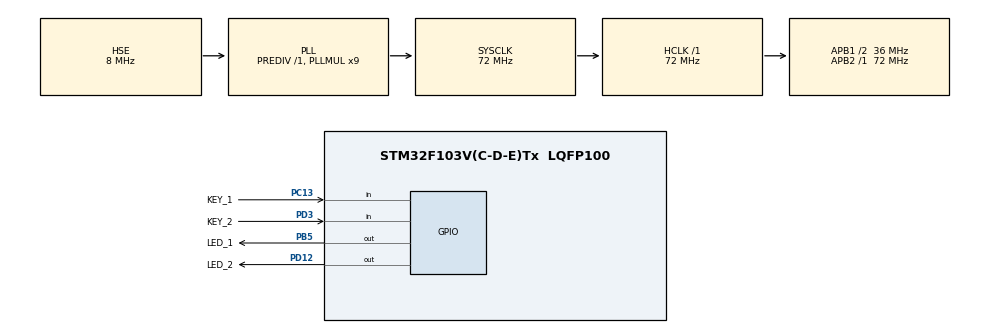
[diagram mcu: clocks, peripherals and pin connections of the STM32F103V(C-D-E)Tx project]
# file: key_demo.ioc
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Mcu.Family=STM32F1
Mcu.Name=STM32F103V(C-D-E)Tx
Mcu.Package=LQFP100
NVIC.PriorityGroup=NVIC_PRIORITYGROUP_0
NVIC.TIM6_IRQn=true\:0\:3\:false\:false\:true\:true\:true
OSC_IN.Mode=HSE-External-Oscillator
OSC_IN.Signal=RCC_OSC_IN
OSC_OUT.Mode=HSE-External-Oscillator
OSC_OUT.Signal=RCC_OSC_OUT
PA13.Mode=Serial_Wire
PA13.Signal=SYS_JTMS-SWDIO
PA14.Mode=Serial_Wire
PA14.Signal=SYS_JTCK-SWCLK
PB5.GPIO_Label=LED_1
PB5.GPIO_ModeDefaultOutputPP=GPIO_MODE_OUTPUT_OD
PB5.GPIO_PuPd=GPIO_PULLUP
PB5.GPIO_Speed=GPIO_SPEED_FREQ_HIGH
PB5.PinState=GPIO_PIN_SET
PB5.Signal=GPIO_Output
PC13-TAMPER-RTC.GPIO_Label=KEY_1
PC13-TAMPER-RTC.GPIO_PuPd=GPIO_PULLUP
PC13-TAMPER-RTC.Signal=GPIO_Input
PD12.GPIO_Label=LED_2
PD12.GPIO_ModeDefaultOutputPP=GPIO_MODE_OUTPUT_OD
PD12.GPIO_PuPd=GPIO_PULLUP
PD12.GPIO_Speed=GPIO_SPEED_FREQ_HIGH
PD12.PinState=GPIO_PIN_SET
PD12.Signal=GPIO_Output
PD3.GPIO_Label=KEY_2
PD3.GPIO_PuPd=GPIO_PULLUP
PD3.Signal=GPIO_Input
ProjectManager.HeapSize=0x200
ProjectManager.StackSize=0x400
ProjectManager.TargetToolchain=MDK-ARM V5.27
RCC.AHBFreq_Value=72000000
RCC.APB1CLKDivider=RCC_HCLK_DIV2
RCC.APB1Freq_Value=36000000
RCC.APB1TimFreq_Value=72000000
RCC.APB2Freq_Value=72000000
RCC.APB2TimFreq_Value=72000000
RCC.HCLKFreq_Value=72000000
RCC.PLLMUL=RCC_PLL_MUL9
RCC.PLLSourceVirtual=RCC_PLLSOURCE_HSE
RCC.SYSCLKFreq_VALUE=72000000
RCC.SYSCLKSource=RCC_SYSCLKSOURCE_PLLCLK
RCC.USBFreq_Value=72000000
TIM6.AutoReloadPreload=TIM_AUTORELOAD_PRELOAD_DISABLE
TIM6.Period=1000
TIM6.Prescaler=71
TIM6.TIM_MasterOutputTrigger=TIM_TRGO_RESET
VP_TIM6_VS_ClockSourceINT.Mode=Enable_Timer
board=custom

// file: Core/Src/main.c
/* USER CODE BEGIN Header */
/**
  ******************************************************************************
  * @file           : main.c
  * @brief          : Main program body
  ******************************************************************************
  * @attention
  *
  * <h2><center>&copy; Copyright (c) 2023 STMicroelectronics.
  * All rights reserved.</center></h2>
  *
  * This software component is licensed by ST under BSD 3-Clause license,
  * the "License"; You may not use this file except in compliance with the
  * License. You may obtain a copy of the License at:
  *                        opensource.org/licenses/BSD-3-Clause
  *
  ******************************************************************************
  */
/* USER CODE END Header */
#include "main.h"
#include "tim.h"
#include "gpio.h"

/* USER CODE BEGIN PV */

uint32_t time = 0;

/* USER CODE END PV */

void SystemClock_Config(void);

/* USER CODE BEGIN 0 */
uint8_t flag = 0;
void key1_handle(void){
	//普通实现
//		if(HAL_GPIO_ReadPin(KEY_1_GPIO_Port,KEY_1_Pin) == 0){
//			HAL_GPIO_TogglePin(LED_1_GPIO_Port,LED_1_Pin);
//		}
	if(flag == 0	&& HAL_GPIO_ReadPin(KEY_1_GPIO_Port,KEY_1_Pin) == 0){
		HAL_TIM_Base_Start_IT(&htim6);
		flag = 1;
		time = 0;
	}
	if(flag == 1 && HAL_GPIO_ReadPin(KEY_1_GPIO_Port,KEY_1_Pin) ==0&&time >= 1000 ){
			HAL_GPIO_TogglePin(LED_1_GPIO_Port,LED_1_Pin);
			flag = 0;
			time = 0;
		HAL_TIM_Base_Stop_IT(&htim6);
	}
	if(flag == 1 && HAL_GPIO_ReadPin(KEY_1_GPIO_Port,KEY_1_Pin) !=0){
			flag = 0;
			time = 0;
		HAL_TIM_Base_Stop_IT(&htim6);
	}
}

//回调函数，回调中断执行一段时间
void HAL_TIM_PeriodElapsedCallback(TIM_HandleTypeDef *htim)
{
  time++;
}
/* USER CODE END 0 */

int main(void)
{

  /* MCU Configuration--------------------------------------------------------*/

  /* Reset of all peripherals, Initializes the Flash interface and the Systick. */
  HAL_Init();

  /* Configure the system clock */
  SystemClock_Config();

  /* Initialize all configured peripherals */
  MX_GPIO_Init();
  MX_TIM6_Init();
  /* USER CODE BEGIN 2 */
//	HAL_TIM_Base_Start_IT(&htim6);
	//!!!必须要开启外设中断，默认全局中断已经开启
	   /* 在中断模式下启动定时器 */
//  HAL_TIM_Base_Start_IT(&htim6);
//	HAL_TIM_Base_Stop_IT(&htim6);
  /* USER CODE END 2 */

  /* Infinite loop */
  /* USER CODE BEGIN WHILE */
  while (1)
  {
		key1_handle();
//		 if ( time == 1000 ) /* 1000 * 1 ms = 1s 时间到 */
//    {
//      time = 0;
//			/* LED1 取反 */
//					HAL_GPIO_TogglePin(LED_1_GPIO_Port,LED_1_Pin);
//    }
    /* USER CODE END WHILE */

  }
}

void SystemClock_Config(void)
{
  RCC_OscInitTypeDef RCC_OscInitStruct = {0};
  RCC_ClkInitTypeDef RCC_ClkInitStruct = {0};

  /** Initializes the RCC Oscillators according to the specified parameters
  * in the RCC_OscInitTypeDef structure.
  */
  RCC_OscInitStruct.OscillatorType = RCC_OSCILLATORTYPE_HSE;
  RCC_OscInitStruct.HSEState = RCC_HSE_ON;
  RCC_OscInitStruct.HSEPredivValue = RCC_HSE_PREDIV_DIV1;
  RCC_OscInitStruct.HSIState = RCC_HSI_ON;
  RCC_OscInitStruct.PLL.PLLState = RCC_PLL_ON;
  RCC_OscInitStruct.PLL.PLLSource = RCC_PLLSOURCE_HSE;
  RCC_OscInitStruct.PLL.PLLMUL = RCC_PLL_MUL9;
  if (HAL_RCC_OscConfig(&RCC_OscInitStruct) != HAL_OK)
  {
    Error_Handler();
  }
  /** Initializes the CPU, AHB and APB buses clocks
  */
  RCC_ClkInitStruct.ClockType = RCC_CLOCKTYPE_HCLK|RCC_CLOCKTYPE_SYSCLK
                              |RCC_CLOCKTYPE_PCLK1|RCC_CLOCKTYPE_PCLK2;
  RCC_ClkInitStruct.SYSCLKSource = RCC_SYSCLKSOURCE_PLLCLK;
  RCC_ClkInitStruct.AHBCLKDivider = RCC_SYSCLK_DIV1;
  RCC_ClkInitStruct.APB1CLKDivider = RCC_HCLK_DIV2;
  RCC_ClkInitStruct.APB2CLKDivider = RCC_HCLK_DIV1;

  if (HAL_RCC_ClockConfig(&RCC_ClkInitStruct, FLASH_LATENCY_2) != HAL_OK)
  {
    Error_Handler();
  }
}

void Error_Handler(void)
{
  __disable_irq();
  while (1)
  {
  }
}

/************************ (C) COPYRIGHT STMicroelectronics *****END OF FILE****/
